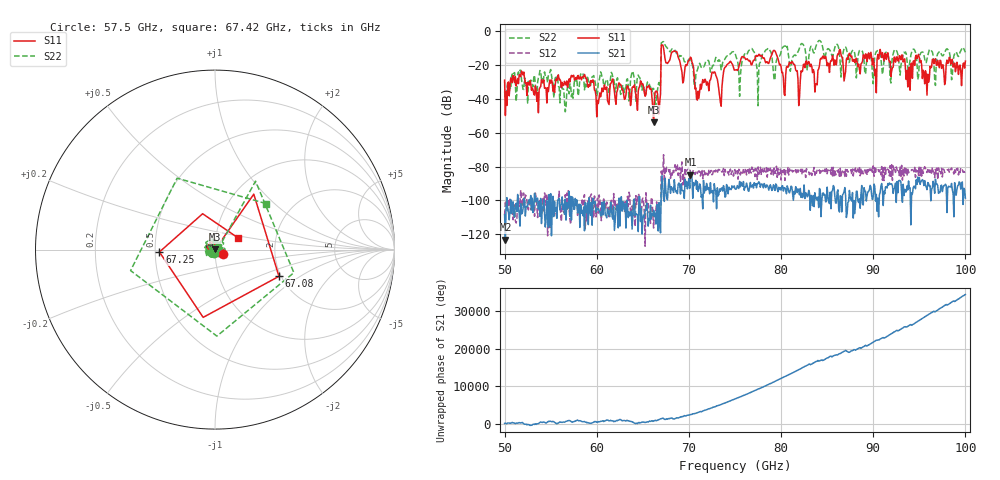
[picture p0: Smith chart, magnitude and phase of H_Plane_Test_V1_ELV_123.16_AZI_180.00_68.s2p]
! 11/27/2026 8:47:20 AM
! C:\ANRITSUVNA\TEMP\TEMP.S2P
! CHANNEL.1
! TR.MEASUREMENT
! RAW.DATA
# HZ S RI R 50.0
! FREQ.HZ  S11RE  S11IM  S21RE  S21IM  S12RE  S12IM  S22RE  S22IM
!; PortSelection: Port_12
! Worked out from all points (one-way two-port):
!   601 points, 50 GHz to 100 GHz, reference 50 ohm
!   highest |S21| = -84.74 dB at 70.17 GHz (marker M1); lowest = -123.1 dB at 50.08 GHz (marker M2)
!   lowest |S11| = -54.0 dB at 66.17 GHz (marker M3), VSWR 1.00, Z = 50.1 + j0.145 ohm
!   |S11| at or under -10 dB: start of sweep to 67 GHz; 67.24 GHz to end of sweep
!   |S22| runs from -47.7 to -5.6 dB; largest |S21 - S12| = 0.00021
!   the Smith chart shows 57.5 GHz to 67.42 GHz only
!   S11 on the Smith chart (normalised r, x): 57.5 GHz: 1.09, -0.05; 67.08 GHz: 1.95, -0.68; 67.25 GHz: 0.53, -0.02; 67.42 GHz: 1.29, +0.17
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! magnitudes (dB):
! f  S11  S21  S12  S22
! 50 GHz  -29.0  -108.4  -108.6  -35.8
! 50.08 GHz  -49.9  -123.1  -101.2  -41.3
! 51.67 GHz  -26.2  -115.1  -101.9  -23.2
! 57.5 GHz  -26.1  -105.2  -100.5  -34.5
! 58.42 GHz  -27.1  -105.9  -99.7  -24.7
! 60.17 GHz  -42.8  -104.8  -107.5  -30.2
! 66.17 GHz  -54.0  -105.7  -116.3  -34.0
! 66.67 GHz  -41.8  -118.0  -104.8  -31.6
! 67.08 GHz  -8.3  -85.3  -85.5  -6.8
! 67.25 GHz  -10.2  -99.0  -73.0  -6.3
! 67.42 GHz  -16.7  -86.9  -81.2  -8.4
! 70.17 GHz  -15.5  -84.7  -83.3  -18.5
! 70.92 GHz  -40.8  -89.0  -84.1  -23.0
! 75 GHz  -23.1  -93.1  -81.8  -13.0
! 79.25 GHz  -11.4  -91.6  -80.9  -29.1
! 80.25 GHz  -27.9  -94.5  -83.5  -9.3
! 83.42 GHz  -24.6  -103.2  -82.4  -10.9
! 91.67 GHz  -16.7  -90.9  -82.0  -15.3
! 93.75 GHz  -33.1  -93.8  -81.0  -21.6
! 94.83 GHz  -14.9  -86.2  -81.5  -28.7
! 95.83 GHz  -37.9  -93.6  -83.5  -16.6
! 100 GHz  -17.8  -98.6  -82.2  -12.6
